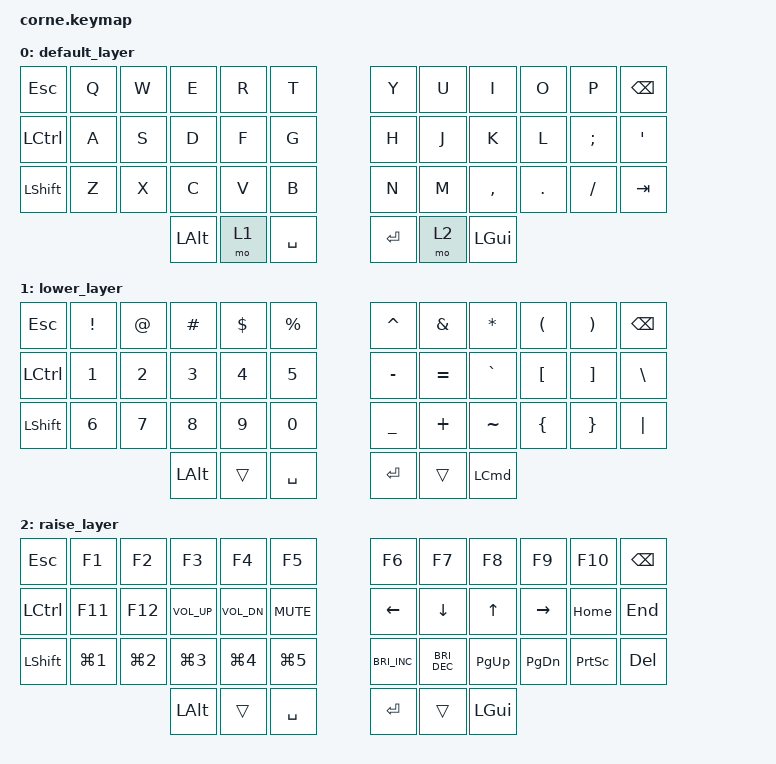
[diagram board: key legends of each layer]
/*
 * Copyright (c) 2020 The ZMK Contributors
 *
 * SPDX-License-Identifier: MIT
 */

#include <behaviors.dtsi>
#include <dt-bindings/zmk/keys.h>

/ {
    keymap {
        compatible = "zmk,keymap";

        default_layer {
            // -----------------------------------------------------------------------------------------
            // |  TAB |  Q  |  W  |  E  |  R  |  T  |   |  Y  |  U   |  I  |  O  |  P  | BKSP |
            // | CTRL |  A  |  S  |  D  |  F  |  G  |   |  H  |  J   |  K  |  L  |  ;  |  '   |
            // | SHFT |  Z  |  X  |  C  |  V  |  B  |   |  N  |  M   |  ,  |  .  |  /  | ESC  |
            //                    | GUI | LWR | SPC |   | ENT | RSE  | ALT |

            bindings = <
&kp ESCAPE        &kp Q  &kp W  &kp E         &kp R  &kp T        &kp Y      &kp U  &kp I         &kp O    &kp P     &kp BSPC
&kp LEFT_CONTROL  &kp A  &kp S  &kp D         &kp F  &kp G        &kp H      &kp J  &kp K         &kp L    &kp SEMI  &kp SQT
&kp LEFT_SHIFT    &kp Z  &kp X  &kp C         &kp V  &kp B        &kp N      &kp M  &kp COMMA     &kp DOT  &kp FSLH  &kp TAB
                                &kp LEFT_ALT  &mo 1  &kp SPACE    &kp ENTER  &mo 2  &kp LEFT_GUI
            >;
        };

        lower_layer {
            // -----------------------------------------------------------------------------------------
            // |  TAB |  1  |  2  |  3  |  4  |  5  |   |  6  |  7  |  8  |  9  |  0  | BKSP |
            // | BTCLR| BT1 | BT2 | BT3 | BT4 | BT5 |   | LFT | DWN |  UP | RGT |     |      |
            // | SHFT |     |     |     |     |     |   |     |     |     |     |     |      |
            //                    | GUI |     | SPC |   | ENT |     | ALT |

            bindings = <
&kp ESCAPE        &kp EXCL      &kp AT        &kp HASH      &kp DOLLAR    &kp PERCENT    &kp CARET  &kp AMPS   &kp ASTRK         &kp LEFT_PARENTHESIS  &kp RIGHT_PARENTHESIS  &kp BSPC
&kp LEFT_CONTROL  &kp NUMBER_1  &kp NUMBER_2  &kp NUMBER_3  &kp NUMBER_4  &kp N5         &kp MINUS  &kp EQUAL  &kp GRAVE         &kp LEFT_BRACKET      &kp RIGHT_BRACKET      &kp BACKSLASH
&kp LEFT_SHIFT    &kp NUMBER_6  &kp N7        &kp N8        &kp N9        &kp N0         &kp UNDER  &kp PLUS   &kp TILDE         &kp LEFT_BRACE        &kp RIGHT_BRACE        &kp PIPE
                                              &kp LEFT_ALT  &trans        &kp SPACE      &kp ENTER  &trans     &kp LEFT_COMMAND
            >;
        };

        raise_layer {
            // -----------------------------------------------------------------------------------------
            // |  TAB |  !  |  @  |  #  |  $  |  %  |   |  ^  |  &  |  *  |  (  |  )  | BKSP |
            // | CTRL |     |     |     |     |     |   |  -  |  =  |  [  |  ]  |  \  |  `   |
            // | SHFT |     |     |     |     |     |   |  _  |  +  |  {  |  }  | "|" |  ~   |
            //                    | GUI |     | SPC |   | ENT |     | ALT |

            bindings = <
&kp ESCAPE        &kp F1            &kp F2            &kp F3            &kp F4            &kp F5        &kp F6                &kp F7                &kp F8        &kp F9           &kp F10          &kp BACKSPACE
&kp LEFT_CONTROL  &kp F11           &kp F12           &kp C_VOLUME_UP   &kp C_VOL_DN      &kp K_MUTE    &kp LEFT_ARROW        &kp DOWN_ARROW        &kp UP_ARROW  &kp RIGHT_ARROW  &kp HOME         &kp END
&kp LEFT_SHIFT    &kp LG(NUMBER_1)  &kp LG(NUMBER_2)  &kp LG(NUMBER_3)  &kp LG(NUMBER_4)  &kp LG(N5)    &kp C_BRIGHTNESS_INC  &kp C_BRIGHTNESS_DEC  &kp PAGE_UP   &kp PAGE_DOWN    &kp PRINTSCREEN  &kp DEL
                                                      &kp LEFT_ALT      &trans            &kp SPACE     &kp ENTER             &trans                &kp LEFT_GUI
            >;
        };
    };
};
